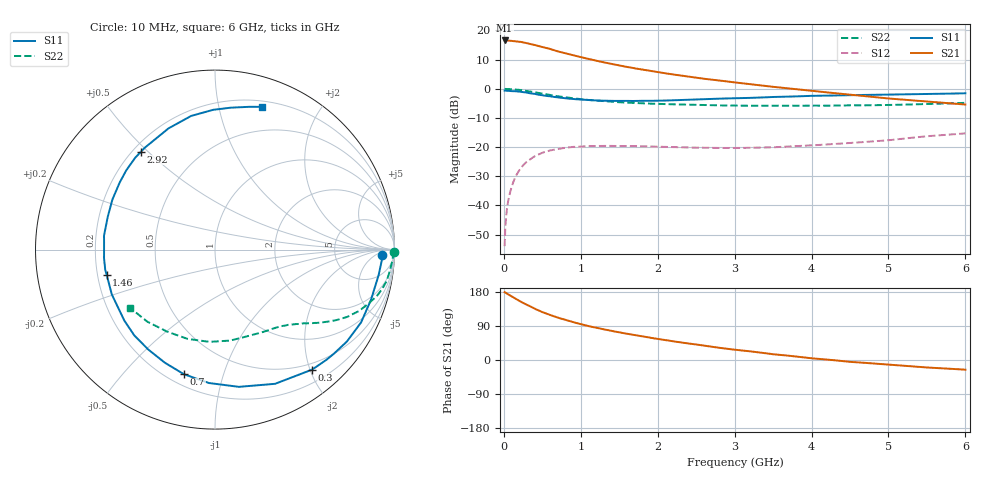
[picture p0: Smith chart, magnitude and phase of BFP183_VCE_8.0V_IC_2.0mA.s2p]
! Infineon Technologies  Discrete & RF Semiconductors
! BFP183
! VCE = 8.0 V,  IC =  2.0 mA
! Common Emitter S-Parameters:  Jan 2016
# GHz  S  MA  R  50
!  f  S11  S21  S12  S22
! GHz  MAG  ANG  MAG  ANG  MAG  ANG  MAG  ANG
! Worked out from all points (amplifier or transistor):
!   210 points, 10 MHz to 6 GHz, reference 50 ohm
!   highest |S21| = 16.6 dB at 10 MHz (marker M1)
!   |S21| within 3 dB of that: start of sweep to 612.3 MHz
!   unconditionally stable (mu >= 1): 2.16 GHz to 5.899 GHz
!   at 185 MHz: K = 0.10, MSG = 22.4 dB, |S12| = -28.6 dB
!   at 1.52 GHz: K = 0.71, MSG = 13.8 dB, |S12| = -19.6 dB
!   at 6 GHz: K = 0.97, MSG = 4.9 dB, |S12| = -15.3 dB
!   S11 on the Smith chart (normalised r, x): 10 MHz: 24, -10; 300 MHz: 0.40, -2.03; 700 MHz: 0.26, -0.75; 1.46 GHz: 0.24, -0.11; 2.92 GHz: 0.23, +0.48; 6 GHz: 0.25, +1.35
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0.01  0.932 -1.7  6.741 179.0  0.002 87.6  0.9974 -0.7
0.02  0.9314 -3.6  6.737 178.1  0.0043 81.9  0.9926 -1.3
0.035  0.9261 -6.2  6.72 176.1  0.0075 84.3  0.9918 -2.3
0.085  0.9136 -15.1  6.649 169.8  0.0175 80.6  0.9844 -5.6
0.2  0.8957 -34.9  6.441 156.2  0.0399 70.2  0.9587 -12.9
0.24  0.8801 -41.4  6.292 151.7  0.0469 66.6  0.9431 -15.3
0.3  0.8602 -51.0  6.059 145.9  0.0564 61.5  0.915 -18.5
0.4  0.8192 -65.9  5.642 135.3  0.0695 53.6  0.8725 -23.1
0.5  0.7762 -80.1  5.206 126.4  0.0798 46.7  0.8262 -27.0
0.6  0.7441 -92.6  4.831 118.8  0.0876 41.0  0.7826 -30.1
0.7  0.7155 -104.0  4.382 111.9  0.0931 36.1  0.7452 -32.6
0.84  0.6789 -117.8  3.942 103.4  0.0987 30.4  0.7039 -35.4
1.02  0.6523 -134.9  3.44 93.5  0.1025 24.6  0.6596 -38.5
1.2  0.6297 -149.1  3.035 85.2  0.1044 19.9  0.628 -41.3
1.46  0.62 -167.0  2.577 74.5  0.1046 15.6  0.5927 -44.7
1.78  0.6217 173.9  2.159 62.8  0.1035 12.3  0.5644 -49.1
2.02  0.6253 162.0  1.916 55.0  0.1015 11.0  0.5498 -52.4
2.92  0.6839 127.0  1.326 29.3  0.0963 12.8  0.5162 -68.5
3.1  0.6931 121.7  1.242 25.1  0.0968 14.1  0.5133 -72.2
4.1  0.7594 98.2  0.896 2.9  0.1089 21.9  0.5137 -96.1
5.1  0.7986 82.4  0.666 -13.6  0.1355 25.9  0.5311 -122.8
6  0.8366 71.9  0.537 -25.6  0.1719 21.4  0.5744 -145.7
